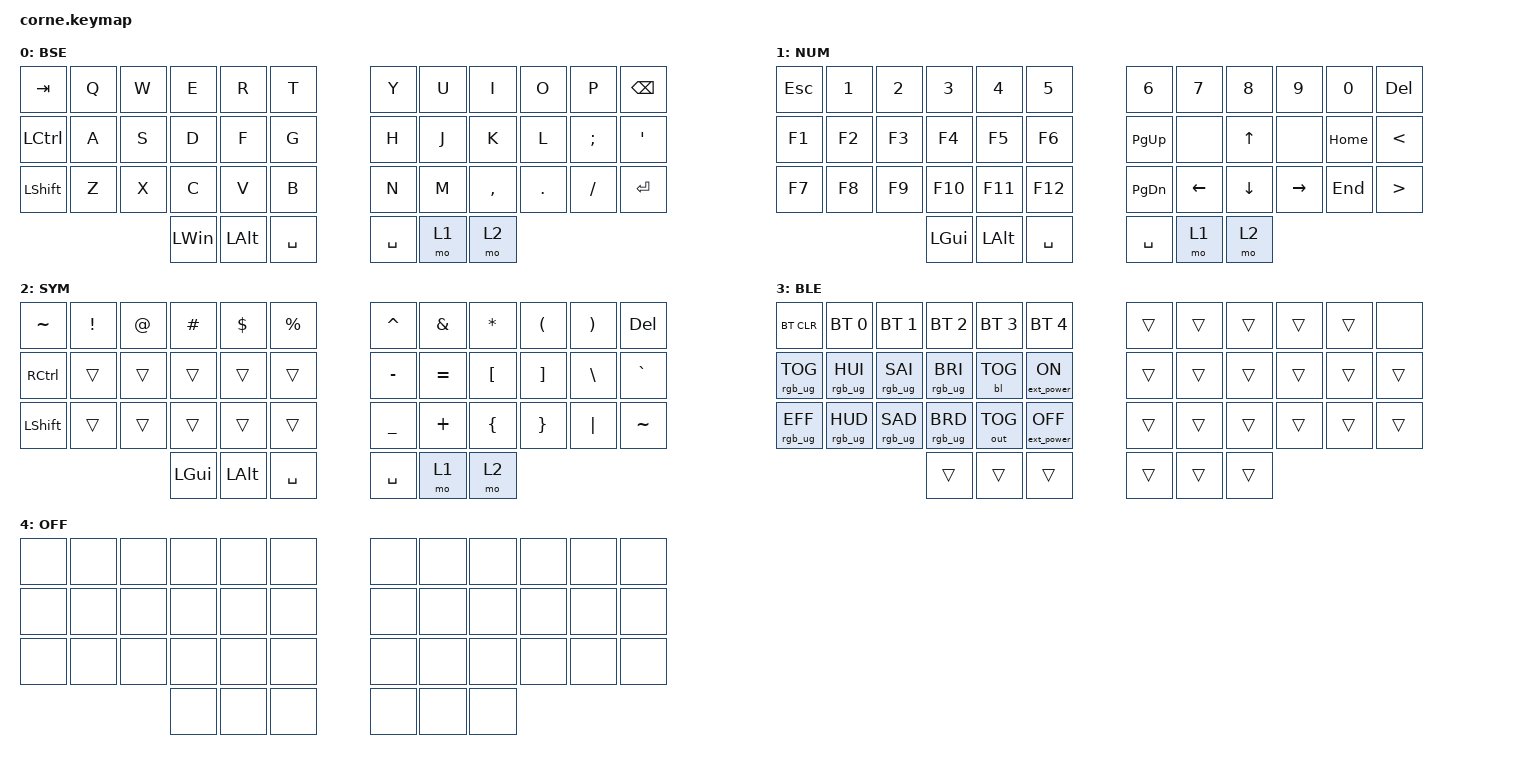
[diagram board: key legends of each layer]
/*
 * Copyright (c) 2020 The ZMK Contributors
 *
 * SPDX-License-Identifier: MIT
 */

#include <behaviors.dtsi>
#include <dt-bindings/led/led.h>
#include <dt-bindings/zmk/backlight.h>
#include <dt-bindings/zmk/bt.h>
#include <dt-bindings/zmk/ext_power.h>
#include <dt-bindings/zmk/keys.h>
#include <dt-bindings/zmk/outputs.h>
#include <dt-bindings/zmk/rgb.h>

/ {
    conditional_layers {
        compatible = "zmk,conditional-layers";

        tri_layer {
            if-layers = <1 2>;
            then-layer = <3>;
        };
    };

    combos {
        compatible = "zmk,combos";

        Underscore {
            bindings = <&kp UNDERSCORE>;
            key-positions = <38 39>;
            layers = <0 1 2 4 3>;
        };

        power {
            bindings = <&tog 4>;
            key-positions = <0 11>;
            layers = <0 1 2 4 3>;
        };

        username {
            bindings = <&username>;
            key-positions = <13 14 15 16>;
            timeout-ms = <30>;
        };
    };

    behaviors {
    };

    macros {
        username: username {
            compatible = "zmk,behavior-macro";
            label = "USERNAME";
            #binding-cells = <0>;
            bindings =
                <&macro_tap>,
                <&kp J &kp E &kp F &kp F &kp DOT &kp C &kp O &kp M &kp L &kp E &kp Y>;

            wait-ms = <30>;
        };
    };

    keymap {
        compatible = "zmk,keymap";

        base_layer {
            label = "BSE";
            bindings = <
         &kp TAB  &kp Q  &kp W         &kp E         &kp R      &kp T        &kp Y  &kp U      &kp I    &kp O     &kp P    &kp BSPC
&kp LEFT_CONTROL  &kp A  &kp S         &kp D         &kp F      &kp G        &kp H  &kp J      &kp K    &kp L  &kp SEMI     &kp SQT
      &kp LSHIFT  &kp Z  &kp X         &kp C         &kp V      &kp B        &kp N  &kp M  &kp COMMA  &kp DOT  &kp FSLH  &kp RETURN
                                &kp LEFT_WIN  &kp LEFT_ALT  &kp SPACE    &kp SPACE  &mo 1      &mo 2
            >;
        };

        numerical_layer {
            label = "NUM";
            bindings = <
&kp ESCAPE  &kp N1  &kp N2    &kp N3        &kp N4     &kp N5           &kp N6          &kp N7          &kp N8           &kp N9    &kp N0        &kp DELETE
    &kp F1  &kp F2  &kp F3    &kp F4        &kp F5     &kp F6      &kp PAGE_UP           &none          &kp UP            &none  &kp HOME     &kp LESS_THAN
    &kp F7  &kp F8  &kp F9   &kp F10       &kp F11    &kp F12    &kp PAGE_DOWN  &kp LEFT_ARROW  &kp DOWN_ARROW  &kp RIGHT_ARROW   &kp END  &kp GREATER_THAN
                            &kp LGUI  &kp LEFT_ALT  &kp SPACE        &kp SPACE           &mo 1           &mo 2
            >;
        };

        symbol_layer {
            label = "SYM";
            bindings = <
        &kp TILDE  &kp EXCLAMATION  &kp AT_SIGN  &kp HASH      &kp DLLR  &kp PRCNT    &kp CARET   &kp AMPS  &kp ASTERISK  &kp LPAR  &kp RPAR    &kp DEL
&kp RIGHT_CONTROL           &trans       &trans    &trans        &trans     &trans    &kp MINUS  &kp EQUAL      &kp LBKT  &kp RBKT  &kp BSLH  &kp GRAVE
        &kp LSHFT           &trans       &trans    &trans        &trans     &trans    &kp UNDER   &kp PLUS      &kp LBRC  &kp RBRC  &kp PIPE  &kp TILDE
                                                 &kp LGUI  &kp LEFT_ALT  &kp SPACE    &kp SPACE      &mo 1         &mo 2
            >;
        };

        bluetooth_layer {
            label = "BLE";
            bindings = <
     &bt BT_CLR     &bt BT_SEL 0     &bt BT_SEL 1     &bt BT_SEL 2  &bt BT_SEL 3       &bt BT_SEL 4    &trans  &trans  &trans  &trans  &trans   &none
&rgb_ug RGB_TOG  &rgb_ug RGB_HUI  &rgb_ug RGB_SAI  &rgb_ug RGB_BRI    &bl BL_TOG   &ext_power EP_ON    &trans  &trans  &trans  &trans  &trans  &trans
&rgb_ug RGB_EFF  &rgb_ug RGB_HUD  &rgb_ug RGB_SAD  &rgb_ug RGB_BRD  &out OUT_TOG  &ext_power EP_OFF    &trans  &trans  &trans  &trans  &trans  &trans
                                                            &trans        &trans             &trans    &trans  &trans  &trans
            >;
        };

        off_layer {
            label = "OFF";
            bindings = <
&none  &none  &none  &none  &none  &none    &none  &none  &none  &none  &none  &none
&none  &none  &none  &none  &none  &none    &none  &none  &none  &none  &none  &none
&none  &none  &none  &none  &none  &none    &none  &none  &none  &none  &none  &none
                     &none  &none  &none    &none  &none  &none
            >;
        };
    };

};
